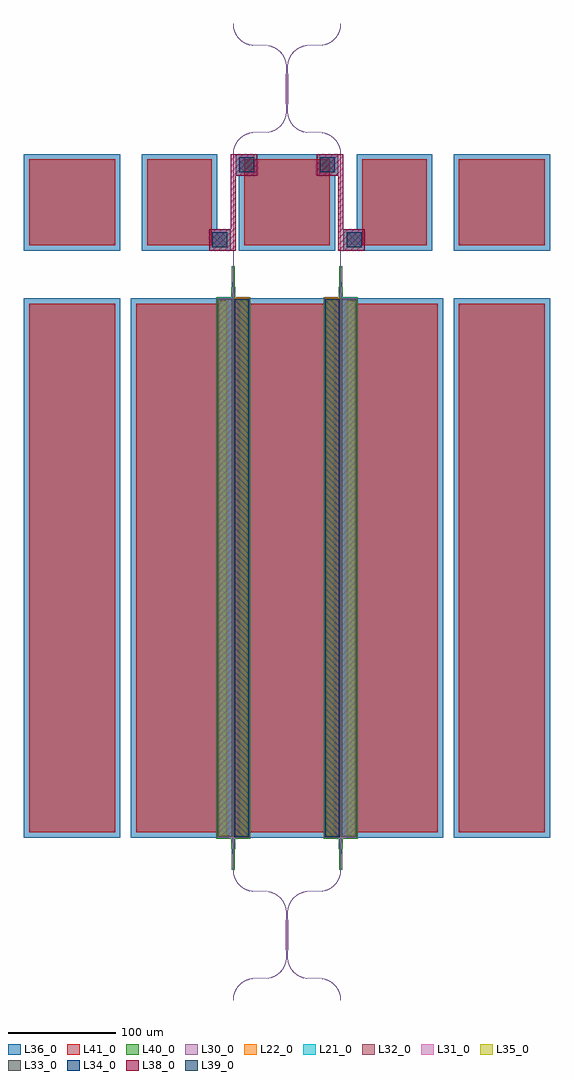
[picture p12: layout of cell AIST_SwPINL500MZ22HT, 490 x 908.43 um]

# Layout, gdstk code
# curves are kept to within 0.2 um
import gdstk
lib = gdstk.Library(unit=1e-6, precision=1e-09)
def R(c, l, rs):  # rectangles x0, y0, x1, y1
    for r in rs: c.add(gdstk.rectangle(r[:2], r[2:], *l))
def A(c, l, x, y, w, h, nx, ny, dx, dy):  # array of equal rectangles
    R(c, l, [(x+i*dx, y+j*dy, x+i*dx+w, y+j*dy+h) for i in range(nx) for j in range(ny)])
def P(c, l, *ps):  # polygons
    for p in ps: c.add(gdstk.Polygon(p, *l))
L21_0 = (21, 0)
L22_0 = (22, 0)
L30_0 = (30, 0)
L31_0 = (31, 0)
L32_0 = (32, 0)
L33_0 = (33, 0)
L34_0 = (34, 0)
L35_0 = (35, 0)
L36_0 = (36, 0)
L38_0 = (38, 0)
L39_0 = (39, 0)
L40_0 = (40, 0)
L41_0 = (41, 0)

aist_swpinl500mz22ht = lib.new_cell('AIST_SwPINL500MZ22HT')
R(aist_swpinl500mz22ht, L21_0, [(-64.5,137,-49.85,638), (49.85,137,64.5,638)])
R(aist_swpinl500mz22ht, L22_0, [(-50.15,137,-35.5,638), (35.5,137,50.15,638)])
P(aist_swpinl500mz22ht, L30_0, [(-50.22,-15.516),(-49.615,-10.605),(-47.759,-5.848),(-44.879,-1.824),(-40.975,1.467),(-37.348,3.322),(-33.266,4.439),(-19.27,4.745),(-14.255,5.732),(-11.032,7.144),(-8.235,9.005),(-5.687,11.432),(-3.651,14.204),(-1.651,18.646),(-0.797,23.443),(-1.105,53.293),(-0.774,65.9),(-1.493,70.8),(-3.487,75.505),(-6.563,79.487),(-10.545,82.563),(-14.028,84.174),(-17.915,85.104),(-31.119,85.311),(-35.298,85.986),(-40.5,88.22),(-44.879,91.808),(-46.807,94.258),(-48.267,96.83),(-49.313,99.511),(-50.004,102.55),(-51,135.5),(-65,135.5),(-65,637.5),(-35,637.5),(-35,135.5),(-49,135.5),(-49.745,115.5),(-49.671,103.422),(-48.566,98.676),(-46.469,94.544),(-43.468,91.013),(-39.518,88.16),(-36.067,86.673),(-32.635,85.896),(-19.67,85.701),(-15.639,85.115),(-10.602,83.104),(-6.168,79.713),(-2.791,75.168),(-0.824,69.944),(-0.349,66.38),(-0.095,53.293),(0.361,66.619),(0.878,70.177),(2.868,75.308),(6.168,79.713),(10.602,83.104),(15.639,85.115),(19.67,85.701),(32.635,85.896),(36.067,86.673),(39.518,88.16),(43.468,91.013),(46.469,94.544),(48.566,98.676),(49.671,103.422),(49.745,115.5),(49,135.5),(35,135.5),(35,637.5),(65,637.5),(65,135.5),(51,135.5),(50.004,102.55),(49.313,99.511),(48.267,96.83),(46.807,94.258),(44.879,91.808),(40.5,88.22),(35.298,85.986),(31.119,85.311),(17.915,85.104),(14.028,84.174),(10.545,82.563),(6.563,79.487),(3.487,75.505),(1.493,70.8),(0.774,65.9),(1.105,53.293),(0.797,23.443),(1.651,18.646),(3.651,14.204),(5.687,11.432),(8.235,9.005),(11.032,7.144),(14.255,5.732),(19.27,4.745),(33.266,4.439),(37.348,3.322),(40.975,1.467),(44.879,-1.824),(47.759,-5.848),(49.615,-10.605),(50.22,-15.516),(49.78,-15.516),(49.559,-12.564),(48.827,-9.449),(46.94,-5.304),(43.987,-1.529),(40.005,1.547),(36.522,3.158),(32.635,4.088),(19.67,4.283),(15.407,4.929),(10.325,7.04),(6,10.443),(2.753,14.886),(0.824,20.04),(0.349,23.604),(0.095,36.691),(-0.361,23.365),(-0.86,19.884),(-2.791,14.816),(-6,10.443),(-10.325,7.04),(-15.407,4.929),(-19.67,4.283),(-32.635,4.088),(-36.522,3.158),(-40.005,1.547),(-43.987,-1.529),(-46.94,-5.304),(-48.827,-9.449),(-49.559,-12.564),(-49.78,-15.516)],
  [(49,637.5),(49.745,657.5),(49.78,771.98),(49.687,773.819),(49.408,775.72),(48.991,777.431),(48.395,779.173),(47.566,780.994),(46.601,782.655),(45.529,784.152),(44.267,785.601),(42.81,786.972),(41.353,788.098),(39.728,789.123),(38.084,789.953),(36.522,790.574),(35.068,791.02),(33.584,791.353),(32.078,791.571),(30.24,791.679),(19.67,791.699),(17.442,791.92),(15.252,792.386),(13.726,792.866),(12.316,793.432),(9.778,794.788),(8.587,795.598),(7.336,796.595),(5.297,798.626),(3.567,800.925),(2.753,802.302),(2.082,803.666),(1.057,806.525),(0.502,809.267),(0.34,811.26),(0.095,824.107),(-1.105,824.107),(-1.105,840.709),(-1.005,840.709),(-0.77,852.916),(-0.822,854.356),(-1.097,856.5),(-1.651,858.754),(-2.497,861),(-3.487,862.921),(-4.491,864.465),(-5.582,865.847),(-6.849,867.183),(-8.11,868.295),(-9.594,869.385),(-11.032,870.256),(-12.466,870.969),(-14.028,871.59),(-16.495,872.276),(-19.11,872.644),(-30.4,872.7),(-33.266,872.961),(-35.375,873.423),(-37.348,874.078),(-39.173,874.896),(-40.975,875.933),(-43.031,877.455),(-44.879,879.224),(-46.443,881.148),(-47.759,883.248),(-48.838,885.568),(-49.615,888.005),(-50.078,890.522),(-50.22,892.916),(-49.78,892.916),(-49.559,889.964),(-49.256,888.392),(-48.827,886.849),(-48.02,884.759),(-46.94,882.704),(-45.529,880.664),(-43.987,878.929),(-42.126,877.289),(-40.005,875.853),(-38.303,874.963),(-36.522,874.242),(-34.524,873.66),(-32.635,873.312),(-30.24,873.137),(-19.67,873.117),(-17.6,872.92),(-15.407,872.471),(-12.757,871.574),(-10.325,870.36),(-7.952,868.732),(-6,866.957),(-4.248,864.879),(-2.753,862.514),(-1.655,860.115),(-0.824,857.36),(-0.502,855.549),(-0.349,853.796),(-0.095,840.709),(0.095,840.709),(0.361,854.035),(0.546,855.866),(0.86,857.516),(1.655,860.115),(2.791,862.584),(4.248,864.879),(6,866.957),(7.952,868.732),(10.325,870.36),(12.757,871.574),(15.407,872.471),(17.6,872.92),(19.67,873.117),(30.24,873.137),(32.635,873.312),(34.524,873.66),(36.522,874.242),(38.303,874.963),(40.005,875.853),(42.126,877.289),(43.987,878.929),(45.529,880.664),(46.94,882.704),(48.02,884.759),(48.827,886.849),(49.256,888.392),(49.559,889.964),(49.78,892.916),(50.22,892.916),(50.105,890.76),(49.726,888.472),(49.087,886.243),(48.267,884.246),(47.112,882.144),(45.816,880.318),(44.382,878.703),(42.723,877.2),(40.84,875.847),(38.814,874.718),(36.748,873.855),(34.444,873.19),(32.633,872.868),(30.88,872.715),(20.31,872.695),(17.915,872.52),(16.026,872.172),(14.255,871.668),(12.466,870.969),(10.683,870.059),(8.55,868.641),(6.563,866.903),(4.923,865.042),(3.487,862.921),(2.306,860.559),(1.493,858.216),(0.946,855.551),(0.77,852.996),(1.005,840.709),(1.105,840.709),(1.105,824.107),(1.005,824.107),(0.806,810.7),(1.097,808.316),(1.723,805.833),(2.699,803.38),(3.906,801.212),(4.923,799.774),(6.063,798.432),(7.259,797.251),(8.55,796.175),(9.997,795.17),(11.385,794.371),(12.907,793.656),(14.483,793.073),(16.966,792.447),(19.35,792.156),(30.24,792.119),(32.633,791.948),(34.444,791.626),(36.142,791.165),(37.941,790.496),(39.598,789.697),(41.507,788.527),(43.214,787.205),(44.716,785.767),(46.062,784.183),(47.363,782.263),(48.369,780.353),(49.165,778.346),(49.726,776.344),(50.096,774.136),(50.22,771.98),(50.255,657.5),(51,637.5)],
  [(-51,637.5),(-50.255,657.5),(-50.219,772.14),(-50.004,774.85),(-49.493,777.275),(-48.838,779.248),(-47.91,781.286),(-46.807,783.142),(-45.461,784.931),(-43.925,786.561),(-42.283,787.962),(-40.5,789.18),(-38.67,790.167),(-36.899,790.907),(-35.375,791.393),(-33.739,791.771),(-32.156,792.005),(-30.24,792.119),(-19.749,792.136),(-17.915,792.296),(-16.026,792.644),(-13.576,793.39),(-11.243,794.446),(-9.001,795.841),(-6.965,797.523),(-5.171,799.46),(-3.61,801.688),(-2.306,804.257),(-1.43,806.832),(-0.968,809.107),(-0.774,811.5),(-1.005,824.107),(-0.095,824.107),(-0.349,811.02),(-0.546,808.95),(-0.878,807.223),(-1.712,804.552),(-2.946,801.952),(-4.488,799.617),(-5.509,798.386),(-6.509,797.35),(-8.587,795.598),(-10.882,794.141),(-13.202,793.062),(-15.873,792.228),(-17.6,791.896),(-19.67,791.699),(-30.24,791.679),(-32.078,791.571),(-33.584,791.353),(-35.3,790.957),(-36.974,790.41),(-38.52,789.751),(-40.349,788.757),(-41.999,787.625),(-43.701,786.167),(-45.072,784.71),(-46.379,782.989),(-47.454,781.207),(-48.395,779.173),(-49.057,777.2),(-49.582,774.693),(-49.779,772.14),(-49.78,667.5),(-49.745,657.5),(-49,637.5)])
R(aist_swpinl500mz22ht, L31_0, [(-64.5,136,-50.5,637), (50.5,136,64.5,637)])
R(aist_swpinl500mz22ht, L32_0, [(-49.5,136,-35.5,637), (35.5,136,49.5,637)])
R(aist_swpinl500mz22ht, L33_0, [(-64.5,136.5,-51.15,636.5), (51.15,136.5,64.5,636.5)])
R(aist_swpinl500mz22ht, L34_0, [(-48.85,136.5,-35.5,636.5), (35.5,136.5,48.85,636.5)])
R(aist_swpinl500mz22ht, L35_0, [(-63,137.5,-56,635.5), (-44,137.5,-37,635.5), (37,137.5,44,635.5), (56,137.5,63,635.5)])
A(aist_swpinl500mz22ht, L36_0, -145.5, 135.5, 91, 502, 3, 1, 100, 0)
A(aist_swpinl500mz22ht, L36_0, -245, 681.9, 90, 90, 3, 1, 200, 0)
R(aist_swpinl500mz22ht, L36_0, [(-245,135.5,-155,637.5), (155,135.5,245,637.5), (-135,681.9,-65,771.9), (-72.5,681.9,-52.5,701.9), (-72.5,681.9,-52.5,701.9), (52.5,681.9,72.5,701.9), (52.5,681.9,72.5,701.9), (65,681.9,135,771.9), (155,681.9,245,771.9), (-47.5,751.9,-27.5,771.9), (-47.5,751.9,-27.5,771.9), (27.5,751.9,47.5,771.9), (27.5,751.9,47.5,771.9)])
R(aist_swpinl500mz22ht, L38_0, [(-72.5,681.9,-52.5,701.9), (-52.5,681.9,-47.5,771.9), (47.5,681.9,52.5,771.9), (52.5,681.9,72.5,701.9), (-47.5,751.9,-27.5,771.9), (27.5,751.9,47.5,771.9)])
R(aist_swpinl500mz22ht, L39_0, [(-69.5,684.9,-55.5,698.9), (55.5,684.9,69.5,698.9), (-44.5,754.9,-30.5,768.9), (30.5,754.9,44.5,768.9)])
P(aist_swpinl500mz22ht, L40_0, [(48.78,105.5),(48.745,115.5),(48,134.5),(34,134.5),(34,638.5),(48,638.5),(48.745,657.5),(48.78,667.5),(49.745,667.5),(49.745,105.5)],
  [(50.255,105.5),(50.255,667.5),(51.22,667.5),(51.255,657.5),(52,638.5),(66,638.5),(66,134.5),(52,134.5),(51.255,115.5),(51.22,105.5)],
  [(-51.22,105.5),(-51.255,115.5),(-52,134.5),(-66,134.5),(-66,638.5),(-52,638.5),(-51.255,657.5),(-51.22,667.5),(-50.255,667.5),(-50.255,105.5)],
  [(-49.745,105.5),(-49.745,667.5),(-48.78,667.5),(-48.745,657.5),(-48,638.5),(-34,638.5),(-34,134.5),(-48,134.5),(-48.745,115.5),(-48.78,105.5)])
A(aist_swpinl500mz22ht, L41_0, -140.5, 140.5, 81, 492, 3, 1, 100, 0)
A(aist_swpinl500mz22ht, L41_0, -240, 686.9, 80, 80, 3, 1, 200, 0)
R(aist_swpinl500mz22ht, L41_0, [(-240,140.5,-160,632.5), (160,140.5,240,632.5), (-130,686.9,-70,766.9), (70,686.9,130,766.9), (160,686.9,240,766.9)])

lib.write_gds('AIST_SwPINL500MZ22HT.gds')
